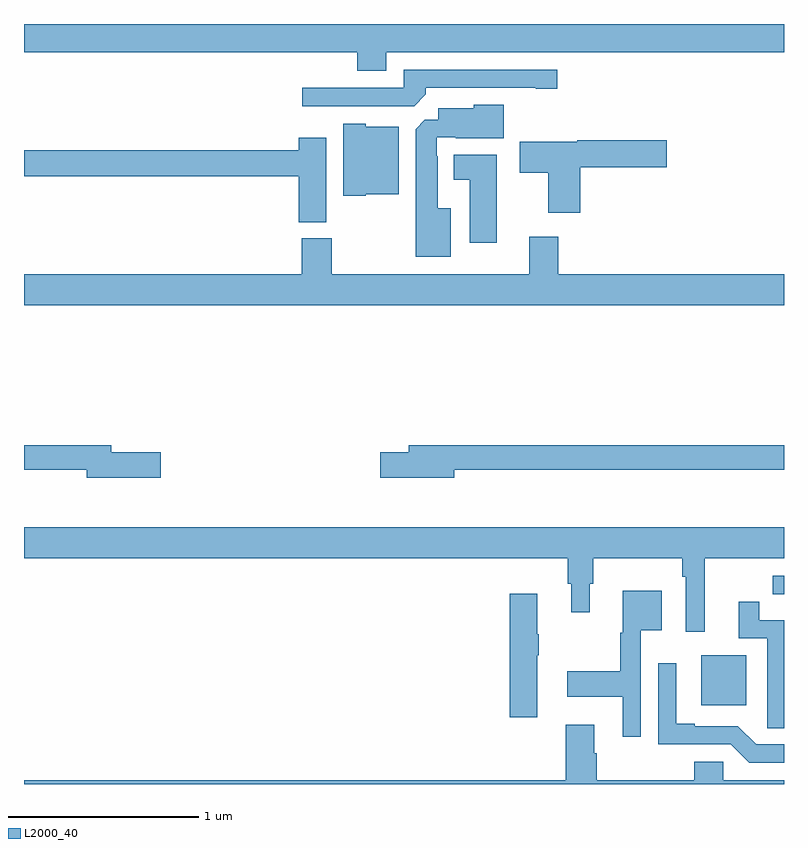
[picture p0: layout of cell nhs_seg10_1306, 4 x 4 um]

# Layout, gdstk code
import gdstk
lib = gdstk.Library(unit=1e-6, precision=1e-09)
def R(c, l, rs):  # rectangles x0, y0, x1, y1
    for r in rs: c.add(gdstk.rectangle(r[:2], r[2:], *l))
def P(c, l, *ps):  # polygons
    for p in ps: c.add(gdstk.Polygon(p, *l))
L2000_40 = (2000, 40)

nhs_seg10_1306 = lib.new_cell('nhs_seg10_1306')
R(nhs_seg10_1306, L2000_40, [(182.564,1260.914,182.8,1261.177), (182.94,1261.5,183,1261.596)])
P(nhs_seg10_1306, L2000_40, [(180.907,1264.352),(183,1264.352),(183,1264.5),(179,1264.5),(179,1264.352),(180.755,1264.352),(180.755,1264.253),(180.907,1264.253)],
  [(181.115,1264.13),(181.115,1264.164),(181.694,1264.164),(181.694,1264.159),(181.807,1264.159),(181.807,1264.26),(180.999,1264.26),(180.999,1264.164),(180.465,1264.164),(180.465,1264.068),(181.053,1264.068)],
  [(181.246,1263.529),(181.177,1263.529),(181.177,1263.803),(181.173,1263.803),(181.173,1263.903),(181.273,1263.903),(181.273,1263.899),(181.525,1263.899),(181.525,1264.075),(181.368,1264.075),(181.368,1264.057),(181.181,1264.057),(181.181,1263.996),(181.11,1263.996),(181.061,1263.947),(181.061,1263.275),(181.246,1263.275)],
  [(180.798,1263.605),(180.973,1263.605),(180.973,1263.958),(180.798,1263.958),(180.798,1263.976),(180.68,1263.976),(180.68,1263.596),(180.798,1263.596)],
  [(180.592,1263.901),(180.446,1263.901),(180.446,1263.836),(179,1263.836),(179,1263.7),(180.446,1263.7),(180.446,1263.457),(180.592,1263.457)],
  [(181.928,1263.746),(182.383,1263.746),(182.383,1263.888),(181.911,1263.888),(181.911,1263.88),(181.608,1263.88),(181.608,1263.718),(181.76,1263.718),(181.76,1263.507),(181.928,1263.507)],
  [(181.489,1263.811),(181.262,1263.811),(181.262,1263.68),(181.346,1263.68),(181.346,1263.348),(181.489,1263.348)],
  [(183,1263.184),(181.811,1263.184),(181.811,1263.379),(181.658,1263.379),(181.658,1263.184),(180.621,1263.184),(180.621,1263.372),(180.461,1263.372),(180.461,1263.184),(179,1263.184),(179,1263.02),(183,1263.02)],
  [(181.264,1262.154),(183,1262.154),(183,1262.282),(181.025,1262.282),(181.025,1262.246),(180.876,1262.246),(180.876,1262.111),(181.264,1262.111)],
  [(179.719,1262.246),(179.458,1262.246),(179.458,1262.282),(179,1262.282),(179,1262.154),(179.33,1262.154),(179.33,1262.111),(179.719,1262.111)],
  [(182.582,1261.688),(183,1261.688),(183,1261.852),(179,1261.852),(179,1261.688),(181.861,1261.688),(181.861,1261.554),(181.88,1261.554),(181.88,1261.404),(181.978,1261.404),(181.978,1261.554),(181.997,1261.554),(181.997,1261.688),(182.464,1261.688),(182.464,1261.592),(182.484,1261.592),(182.484,1261.302),(182.582,1261.302)],
  [(182.247,1261.31),(182.356,1261.31),(182.356,1261.516),(182.15,1261.516),(182.15,1261.295),(182.139,1261.295),(182.139,1261.094),(181.86,1261.094),(181.86,1260.959),(182.15,1260.959),(182.15,1260.75),(182.247,1260.75)],
  [(181.702,1261.177),(181.71,1261.177),(181.71,1261.288),(181.702,1261.288),(181.702,1261.501),(181.556,1261.501),(181.556,1260.852),(181.702,1260.852)],
  [(183,1261.362),(182.87,1261.362),(182.87,1261.459),(182.762,1261.459),(182.762,1261.266),(182.912,1261.266),(182.912,1260.904),(182.913,1260.904),(182.913,1260.793),(183,1260.793)],
  [(183,1260.708),(182.853,1260.708),(182.757,1260.804),(182.53,1260.804),(182.53,1260.817),(182.434,1260.817),(182.434,1261.135),(182.337,1261.135),(182.337,1260.708),(182.721,1260.708),(182.817,1260.612),(183,1260.612)],
  [(183,1260.52),(182.679,1260.52),(182.679,1260.618),(182.528,1260.618),(182.528,1260.52),(182.015,1260.52),(182.015,1260.662),(182.002,1260.662),(182.002,1260.811),(181.85,1260.811),(181.85,1260.52),(179,1260.52),(179,1260.5),(183,1260.5)])

lib.write_gds('nhs_seg10_1306.gds')
